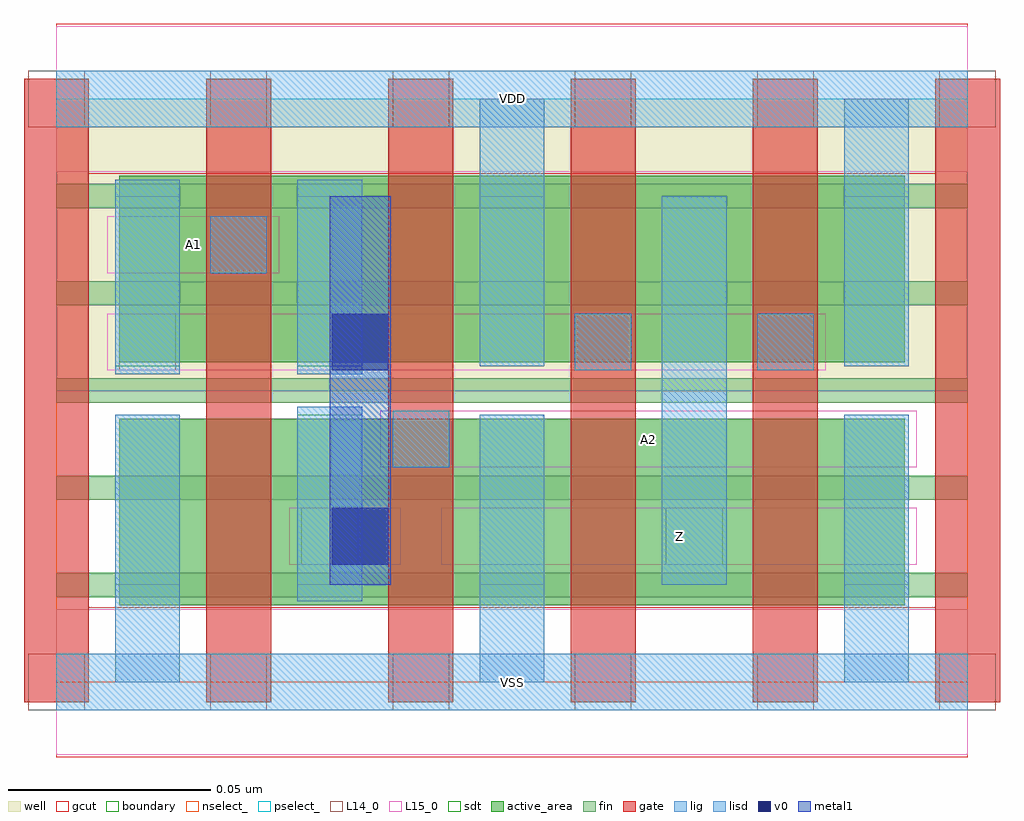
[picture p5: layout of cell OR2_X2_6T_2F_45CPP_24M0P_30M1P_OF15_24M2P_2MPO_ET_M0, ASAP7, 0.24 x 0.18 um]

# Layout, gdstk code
import gdstk
lib = gdstk.Library(unit=1e-6, precision=2.5e-10)
def R(c, l, rs):  # rectangles x0, y0, x1, y1
    for r in rs: c.add(gdstk.rectangle(r[:2], r[2:], *l))
def A(c, l, x, y, w, h, nx, ny, dx, dy):  # array of equal rectangles
    R(c, l, [(x+i*dx, y+j*dy, x+i*dx+w, y+j*dy+h) for i in range(nx) for j in range(ny)])
well = (1, 0)
fin = (2, 0)
gate = (7, 0)
gcut = (10, 0)
active_area = (11, 0)
nselect_ = (12, 0)
pselect_ = (13, 0)
L14_0 = (14, 0)
L15_0 = (15, 0)
lig = (16, 0)
lisd = (17, 0)
v0 = (18, 0)
metal1 = (19, 0)
sdt = (88, 0)
boundary = (100, 0)

or2_x2_6t_2f_45cpp_24m0p = lib.new_cell('OR2_X2_6T_2F_45CPP_24M0P_30M1P_OF15_24M2P_2MPO_ET_M0')
R(or2_x2_6t_2f_45cpp_24m0p, well, [(0,0.072,0.225,0.144)])
A(or2_x2_6t_2f_45cpp_24m0p, fin, 0, 0.021, 0.225, 0.006, 1, 5, 0, 0.024)
A(or2_x2_6t_2f_45cpp_24m0p, gate, -0.008, -0.005, 0.016, 0.154, 6, 1, 0.045, 0)
R(or2_x2_6t_2f_45cpp_24m0p, gcut, [(0,-0.0185,0.225,0.0185), (-0.008,-0.005,0.008,0.149), (0.217,-0.005,0.233,0.149), (0,0.1255,0.225,0.1625)])
A(or2_x2_6t_2f_45cpp_24m0p, active_area, 0.0155, 0.019, 0.059, 0.046, 4, 2, 0.045, 0.06)
R(or2_x2_6t_2f_45cpp_24m0p, nselect_, [(0,0,0.225,0.072)])
R(or2_x2_6t_2f_45cpp_24m0p, pselect_, [(0,0.072,0.225,0.144)])
A(or2_x2_6t_2f_45cpp_24m0p, L14_0, -0.007, -0.007, 0.014, 0.014, 6, 2, 0.045, 0.144)
R(or2_x2_6t_2f_45cpp_24m0p, L14_0, [(0.0605,0.029,0.0745,0.043), (0.1505,0.029,0.1645,0.043), (0.083,0.053,0.097,0.067), (0.0155,0.077,0.0295,0.091), (0.128,0.077,0.142,0.091), (0.173,0.077,0.187,0.091), (0.038,0.101,0.052,0.115)])
R(or2_x2_6t_2f_45cpp_24m0p, L15_0, [(0,-0.018,0.225,0.018), (0.0575,0.029,0.085,0.043), (0.095,0.029,0.2125,0.043), (0.08,0.053,0.2125,0.067), (0.0125,0.077,0.19,0.091), (0.0125,0.101,0.055,0.115), (0,0.126,0.225,0.162)])
R(or2_x2_6t_2f_45cpp_24m0p, lig, [(0,-0.007,0.225,0.007), (0.083,0.053,0.097,0.067), (0.128,0.077,0.142,0.091), (0.173,0.077,0.187,0.091), (0.038,0.101,0.052,0.115), (0,0.137,0.225,0.151)])
A(or2_x2_6t_2f_45cpp_24m0p, lisd, 0.0145, 0, 0.016, 0.066, 3, 1, 0.09, 0)
R(or2_x2_6t_2f_45cpp_24m0p, lisd, [(0.0595,0.02,0.0755,0.068), (0.1495,0.024,0.1655,0.12), (0.0145,0.076,0.0305,0.124), (0.0595,0.076,0.0755,0.124), (0.1045,0.078,0.1205,0.144), (0.1945,0.078,0.2105,0.144)])
R(or2_x2_6t_2f_45cpp_24m0p, v0, [(0.068,0.029,0.082,0.043), (0.068,0.077,0.082,0.091)])
R(or2_x2_6t_2f_45cpp_24m0p, metal1, [(0.0675,0.024,0.0825,0.12)])
A(or2_x2_6t_2f_45cpp_24m0p, sdt, 0.0145, 0.024, 0.016, 0.042, 3, 2, 0.045, 0.054)
R(or2_x2_6t_2f_45cpp_24m0p, sdt, [(0.1495,0.024,0.1655,0.12), (0.1945,0.024,0.2105,0.066), (0.1945,0.078,0.2105,0.12)])
R(or2_x2_6t_2f_45cpp_24m0p, boundary, [(0,0,0.225,0.144)])
or2_x2_6t_2f_45cpp_24m0p.add(gdstk.Label('A1', (0.0338,0.108), layer=15, texttype=251))
or2_x2_6t_2f_45cpp_24m0p.add(gdstk.Label('Z', (0.1538,0.036), layer=15, texttype=251))
or2_x2_6t_2f_45cpp_24m0p.add(gdstk.Label('A2', (0.1463,0.06), layer=15, texttype=251))
or2_x2_6t_2f_45cpp_24m0p.add(gdstk.Label('VDD', (0.1125,0.144), layer=15, texttype=251))
or2_x2_6t_2f_45cpp_24m0p.add(gdstk.Label('VSS', (0.1125,0), layer=15, texttype=251))
or2_x2_6t_2f_45cpp_24m0p.add(gdstk.Label('VDD', (0.1125,0.144), layer=1, texttype=251))
or2_x2_6t_2f_45cpp_24m0p.add(gdstk.Label('VSS', (0.1125,0), layer=3, texttype=251))

lib.write_gds('OR2_X2_6T_2F_45CPP_24M0P_30M1P_OF15_24M2P_2MPO_ET_M0.gds')
